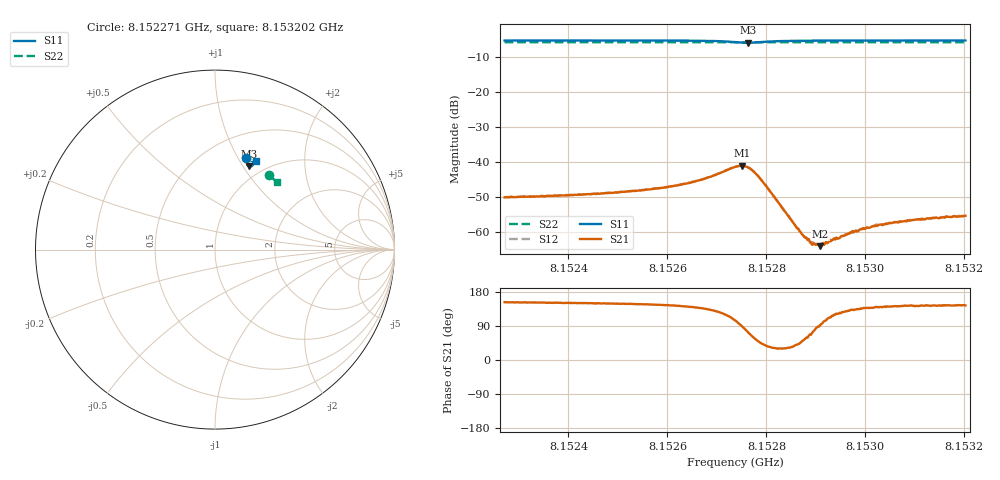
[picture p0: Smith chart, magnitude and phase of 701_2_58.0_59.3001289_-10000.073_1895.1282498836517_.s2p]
#  HZ  S  RI  R  50.00
! Rohde & Schwarz Vector Network Analyzer
! Rohde-Schwarz,ZNB20-2Port,1311601062101988,3.16
! Created: UTC 3/21/2024, 1:21:46 AM
! freq[Hz]  re:S11  im:S11  re:S21  im:S21  re:S12  im:S12  re:S22  im:S22
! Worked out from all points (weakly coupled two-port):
!   401 points, 8.152271 GHz to 8.153202 GHz, reference 50 ohm
!   highest |S21| = -41.19 dB at 8.152751 GHz (marker M1); lowest = -64.2 dB at 8.152909 GHz (marker M2)
!   lowest |S11| = -6.0 dB at 8.152762 GHz (marker M3), VSWR 3.01, Z = 42.9 + j53.1 ohm
!   |S11| at or under -10 dB: nowhere
!   |S22| runs from -5.9 to -5.8 dB; largest |S21 - S12| = 0.00017
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8.1522711e9  0.1742 0.5114  -0.00273 0.00142  -0.00272 0.00148  0.2993 0.4147
8.1524271e9  0.1859 0.5074  -0.00293 0.00169  -0.0029 0.00172  0.3072 0.4087
8.1525016e9  0.1918 0.505  -0.0031 0.00189  -0.00311 0.00197  0.3108 0.4057
8.152583e9  0.1992 0.5013  -0.00345 0.00234  -0.00343 0.00243  0.315 0.4025
8.1526669e9  0.2089 0.4934  -0.004 0.00373  -0.00398 0.00383  0.3192 0.3987
8.1527367e9  0.2087 0.4685  -0.00216 0.0081  -0.00207 0.00817  0.3221 0.3951
8.1527507e9  0.1992 0.463  0.000116 0.00872  0.000237 0.00878  0.3223 0.3946
8.1527623e9  0.1887 0.464  0.00226 0.00799  0.00236 0.00803  0.3226 0.3942
8.1527763e9  0.1798 0.4725  0.00381 0.00585  0.00393 0.00587  0.323 0.3942
8.1527902e9  0.1783 0.4825  0.00393 0.00375  0.004 0.00371  0.3238 0.3939
8.152874e9  0.197 0.499  0.000551 0.000693  0.000575 0.000668  0.3284 0.3909
8.152881e9  0.1981 0.499  0.00042 0.000703  0.000434 0.000664  0.3289 0.3907
8.1528927e9  0.2 0.499  0.000203 0.000615  0.000216 0.000671  0.3294 0.3901
8.1529043e9  0.2015 0.4989  2.16e-05 0.000643  1.94e-05 0.000654  0.33 0.3895
8.152909e9  0.2021 0.4989  -3.22e-05 0.000617  -3.55e-05 0.000637  0.3303 0.3894
8.1529229e9  0.204 0.4987  -0.000212 0.000645  -0.000184 0.000662  0.3308 0.3888
8.1529346e9  0.2054 0.4984  -0.000341 0.000688  -0.000339 0.000677  0.3315 0.3882
8.1529741e9  0.2095 0.4975  -0.000689 0.000749  -0.000632 0.000748  0.3335 0.3866
8.1530184e9  0.2134 0.4963  -0.000913 0.000803  -0.000885 0.000784  0.3357 0.3847
8.1530486e9  0.2161 0.4956  -0.00103 0.000841  -0.00101 0.000862  0.3371 0.3833
8.1531418e9  0.2233 0.4929  -0.00127 0.000932  -0.00128 0.000933  0.3414 0.3793
8.1532023e9  0.2278 0.4911  -0.00136 0.000986  -0.00134 0.000993  0.3443 0.3767
